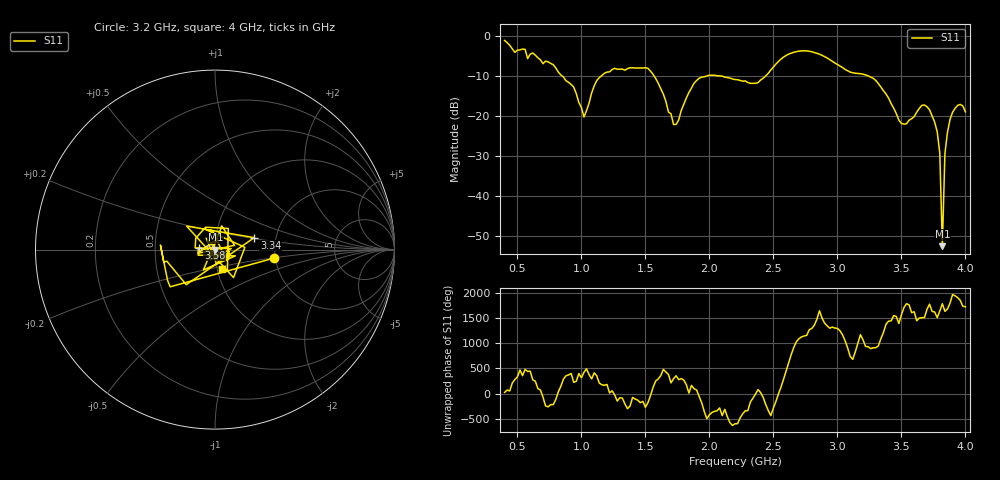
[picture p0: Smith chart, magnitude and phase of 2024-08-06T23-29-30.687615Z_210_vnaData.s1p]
!Created with skrf (http://scikit-rf.org).
# Hz S RI R 50.0
!freq ReS11 ImS11
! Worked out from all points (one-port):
!   181 points, 400 MHz to 4 GHz, reference 50 ohm
!   lowest |S11| = -52.5 dB at 3.82 GHz (marker M1), VSWR 1.00, Z = 50.2 - j0.0347 ohm
!   |S11| at or under -10 dB: 1.567 GHz to 1.984 GHz (417.4 MHz wide, 23.5 % of centre); 2.065 GHz to 2.441 GHz (376.4 MHz wide, 16.7 % of centre); 3.238 GHz to end of sweep (the widest 3 of 4)
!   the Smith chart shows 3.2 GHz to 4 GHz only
!   S11 on the Smith chart (normalised r, x): 3.2 GHz: 1.96, -0.21; 3.34 GHz: 1.54, +0.22; 3.58 GHz: 0.83, +0.02; 4 GHz: 1.06, -0.23
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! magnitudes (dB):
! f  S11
! 400 MHz  -1.2
! 860 MHz  -10.3
! 940 MHz  -12.8
! 1.02 GHz  -20.3
! 1.12 GHz  -11.2
! 1.3 GHz  -8.4
! 1.52 GHz  -8.2
! 1.64 GHz  -14.6
! 1.72 GHz  -22.1
! 1.76 GHz  -21.0
! 1.92 GHz  -10.6
! 2.2 GHz  -10.9
! 2.38 GHz  -11.7
! 2.66 GHz  -4.1
! 3.1 GHz  -9.1
! 3.2 GHz  -9.6
! 3.34 GHz  -12.8
! 3.5 GHz  -21.9
! 3.56 GHz  -21.1
! 3.58 GHz  -20.7
! 3.68 GHz  -17.3
! 3.78 GHz  -24.0
! 3.8 GHz  -29.3
! 3.82 GHz  -52.5
! 3.84 GHz  -29.4
! 3.86 GHz  -24.1
! 3.92 GHz  -18.1
! 4 GHz  -19.0
